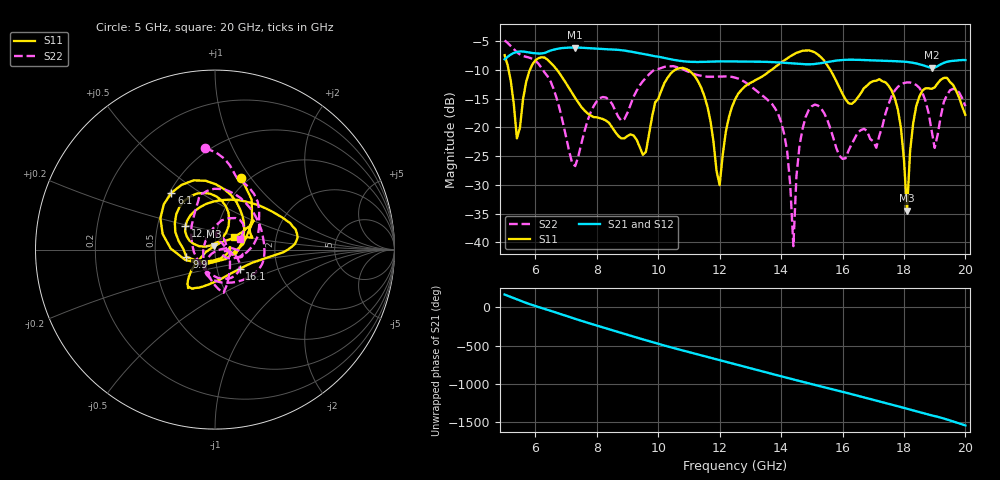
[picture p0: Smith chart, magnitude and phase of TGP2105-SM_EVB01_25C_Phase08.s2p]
! Date: Wednesday, June 05, 2013  1:49 PM
! Filename: C:\Data\Mike_Arnold\TGP2105-SM\Over_Temp\TGP2105-SM_EVB01_25C_Phase8.s2p
! Comments:
!^VDC(V):5.000
!^VDC(mA):0.053
!%Freq(GHz),S11(dB),S11(ang),S21(dB),S21(ang),S12(dB),S12(ang),S22(dB),S22(ang)
# GHz  S  DB  R  50
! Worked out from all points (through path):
!   151 points, 5 GHz to 20 GHz, reference 50 ohm
!   highest |S21| = -6.13 dB at 7.3 GHz (marker M1); lowest = -9.6 dB at 18.9 GHz (marker M2)
!   lowest |S11| = -34.5 dB at 18.1 GHz (marker M3), VSWR 1.04, Z = 49.4 + j1.79 ohm
!   |S11| at or under -10 dB: 6.703 GHz to 10.56 GHz (3.855 GHz wide, 44.7 % of centre); 10.96 GHz to 13.69 GHz (2.735 GHz wide, 22.2 % of centre); 15.6 GHz to end of sweep (the widest 3 of 4)
!   |S22| runs from -40.7 to -4.9 dB; largest |S21 - S12| = 0.0023
!   S11 on the Smith chart (normalised r, x): 5 GHz: 0.93, +0.90; 6.1 GHz: 0.51, +0.38; 9.9 GHz: 0.72, -0.06; 12.7 GHz: 0.70, +0.19; 16.1 GHz: 1.28, -0.29; 20 GHz: 1.22, +0.18
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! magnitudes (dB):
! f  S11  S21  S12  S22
! 5 GHz  -7.5  -8.2  -8.2  -4.9
! 5.4 GHz  -21.9  -6.9  -6.9  -6.9
! 6.1 GHz  -8.0  -7.2  -7.2  -8.9
! 7.3 GHz  -14.9  -6.1  -6.2  -26.7
! 7.5 GHz  -16.5  -6.2  -6.2  -22.8
! 9.5 GHz  -24.8  -7.2  -7.3  -12.0
! 9.9 GHz  -15.7  -7.7  -7.7  -9.9
! 10 GHz  -15.1  -7.7  -7.8  -9.9
! 11.2 GHz  -11.2  -8.6  -8.7  -10.8
! 12 GHz  -30.0  -8.5  -8.6  -11.2
! 12.5 GHz  -15.2  -8.6  -8.6  -11.4
! 12.7 GHz  -13.6  -8.6  -8.6  -11.8
! 14 GHz  -8.7  -8.7  -8.8  -19.0
! 14.4 GHz  -7.4  -8.9  -8.9  -40.7
! 14.6 GHz  -6.9  -9.0  -9.0  -23.2
! 15 GHz  -6.8  -9.0  -9.0  -16.3
! 16.1 GHz  -15.2  -8.3  -8.3  -25.4
! 17.5 GHz  -12.8  -8.5  -8.5  -16.0
! 18.1 GHz  -34.5  -8.6  -8.7  -12.2
! 18.4 GHz  -16.3  -8.9  -8.9  -12.6
! 18.9 GHz  -13.3  -9.6  -9.7  -20.6
! 20 GHz  -17.8  -8.3  -8.4  -16.3
